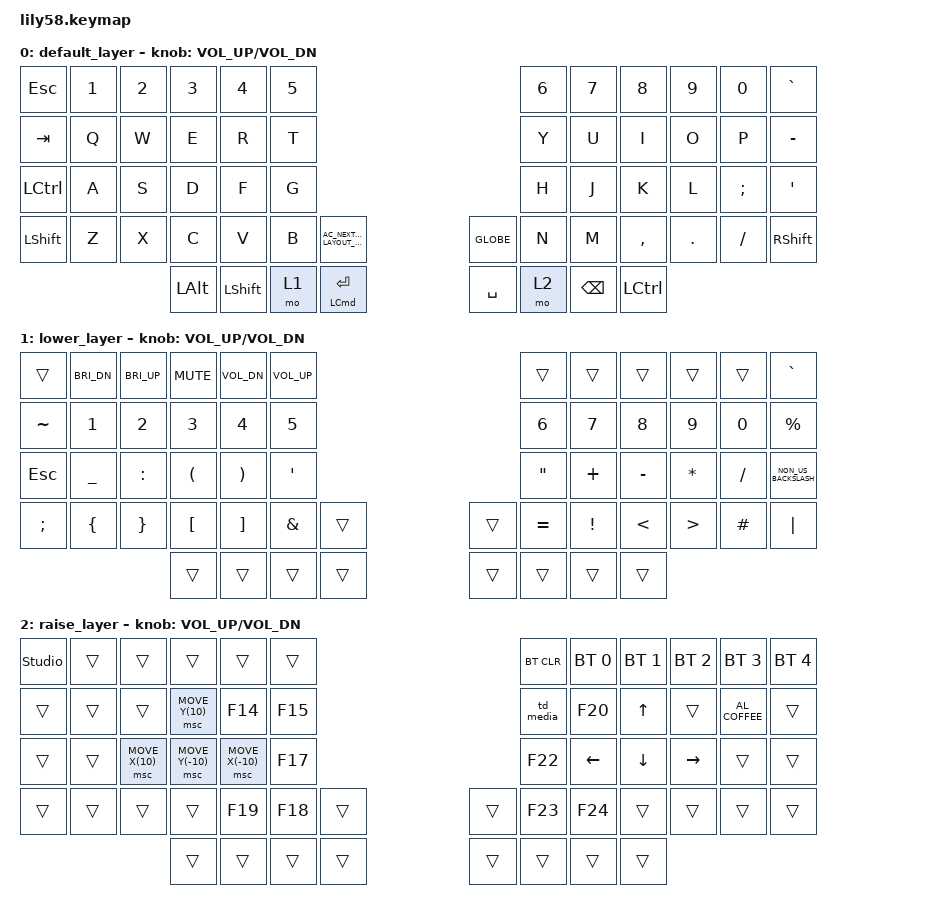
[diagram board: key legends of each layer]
/*
 * Copyright (c) 2020 The ZMK Contributors
 *
 * SPDX-License-Identifier: MIT
 */

#include <behaviors.dtsi>
#include <dt-bindings/zmk/bt.h>
#include <dt-bindings/zmk/keys.h>
#include <dt-bindings/zmk/pointing.h>

/ {
    behaviors {
        td_media: tap_dance_media {
            compatible = "zmk,behavior-tap-dance";
            #binding-cells = <0>;
            tapping-term-ms = <220>;  /* подстрой под себя */
            bindings = <&kp C_PLAY_PAUSE>, <&kp C_NEXT>, <&kp C_PREVIOUS>;
        };
    };

    keymap {
        compatible = "zmk,keymap";

        default_layer {
            bindings = <
        &td_media
            >;
        };
    };
};

/ {
    keymap {
        compatible = "zmk,keymap";

        default_layer {
            // ------------------------------------------------------------------------------------------------------------
            // |  ESC  |  1  |  2  |  3   |  4   |  5   |                   |  6   |  7    |  8    |  9   |   0   |   `   |
            // |  TAB  |  Q  |  W  |  E   |  R   |  T   |                   |  Y   |  U    |  I    |  O   |   P   |   -   |
            // |  CTRL |  A  |  S  |  D   |  F   |  G   |                   |  H   |  J    |  K    |  L   |   ;   |   '   |
            // | SHIFT |  Z  |  X  |  C   |  V   |  B   |   "["  |  |  "]"  |  N   |  M    |  ,    |  .   |   /   | SHIFT |
            //                     | ALT  | GUI  | LOWER|  SPACE |  | ENTER | RAISE| BSPC  | GUI   |

            bindings = <
&kp ESC    &kp N1  &kp N2  &kp N3    &kp N4          &kp N5                                                     &kp N6  &kp N7    &kp N8            &kp N9   &kp N0    &kp GRAVE
&kp TAB    &kp Q   &kp W   &kp E     &kp R           &kp T                                                      &kp Y   &kp U     &kp I             &kp O    &kp P     &kp MINUS
&kp LCTRL  &kp A   &kp S   &kp D     &kp F           &kp G                                                      &kp H   &kp J     &kp K             &kp L    &kp SEMI  &kp SQT
&kp LSHFT  &kp Z   &kp X   &kp C     &kp V           &kp B   &kp C_AC_NEXT_KEYBOARD_LAYOUT_SELECT    &kp GLOBE  &kp N   &kp M     &kp COMMA         &kp DOT  &kp FSLH  &kp RSHFT
                           &kp LALT  &kp LEFT_SHIFT  &mo 1   &mt LEFT_COMMAND ENTER                  &kp SPACE  &mo 2   &kp BSPC  &kp LEFT_CONTROL
            >;

            sensor-bindings = <&inc_dec_kp C_VOL_UP C_VOL_DN>;
        };

        lower_layer {
            // --------------------------------------------------------------------------------------------------------------
            // | LPAD  | BRDn | BRUp |  MUT |  Vo- |  Vo+ |                   |      |       |       |      |       |       |
            // |  F1   |  F2  |  F3  |  F4  |  F5  |  F6  |                   |  F7  |  F8   |  F9   |  F10 |  F11  |  F12  |
            // |   `   |  !   |  @   |  #   |  $   |  %   |                   |  ^   |  &    |  *    |  (   |   )   |   ~   |
            // |       |      |      |      |      |      |        |  |       |      |  _    |  +    |  {   |   }   |  "|"  |
            //                       |      |      |      |        |  |       |      |       |       |

            bindings = <
&trans         &kp C_BRI_DN    &kp C_BRI_UP     &kp C_MUTE            &kp C_VOL_DN           &kp C_VOL_UP                      &trans             &trans           &trans         &trans            &trans     &kp GRAVE
&kp TILDE      &kp NUMBER_1    &kp NUMBER_2     &kp NUMBER_3          &kp NUMBER_4           &kp N5                            &kp NUMBER_6       &kp N7           &kp N8         &kp N9            &kp N0     &kp PERCENT
&kp ESCAPE     &kp UNDERSCORE  &kp COLON        &kp LEFT_PARENTHESIS  &kp RIGHT_PARENTHESIS  &kp APOSTROPHE                    &kp DOUBLE_QUOTES  &kp PLUS         &kp MINUS      &kp ASTERISK      &kp SLASH  &kp NON_US_BACKSLASH
&kp SEMICOLON  &kp LEFT_BRACE  &kp RIGHT_BRACE  &kp LEFT_BRACKET      &kp RIGHT_BRACKET      &kp AMPERSAND   &trans    &trans  &kp EQUAL          &kp EXCLAMATION  &kp LESS_THAN  &kp GREATER_THAN  &kp HASH   &kp PIPE
                                                &trans                &trans                 &trans          &trans    &trans  &trans             &trans           &trans
            >;

            sensor-bindings = <&inc_dec_kp C_VOL_UP C_VOL_DN>;
        };

        raise_layer {
            // ------------------------------------------------------------------------------------------------------------
            // |       |     |     |      |      |      |                   |      |       |       |      |       |       |
            // |   `   |  1  |  2  |  3   |  4   |  5   |                   |  6   |   7   |   8   |  9   |   0   |       |
            // |   F1  |  F2 |  F3 |  F4  |  F5  |  F6  |                   |      |   <-  |   v   |  ^   |  ->   |       |
            // |   F7  |  F8 |  F9 |  F10 |  F11 |  F12 |        |  |       |  +   |   -   |   =   |  [   |   ]   |   \   |
            //                     |      |      |      |        |  |       |      |       |       |

            bindings = <
&studio_unlock  &trans  &trans           &trans            &trans            &trans                     &bt BT_CLR  &bt BT_SEL 0  &bt BT_SEL 1  &bt BT_SEL 2  &bt BT_SEL 3     &bt BT_SEL 4
&trans          &trans  &trans           &msc MOVE_Y(10)   &kp F14           &kp F15                    &td_media   &kp F20       &kp UP_ARROW  &trans        &kp C_AL_COFFEE  &trans
&trans          &trans  &msc MOVE_X(10)  &msc MOVE_Y(-10)  &msc MOVE_X(-10)  &kp F17                    &kp F22     &kp LEFT      &kp DOWN      &kp RIGHT     &trans           &trans
&trans          &trans  &trans           &trans            &kp F19           &kp F18  &trans    &trans  &kp F23     &kp F24       &trans        &trans        &trans           &trans
                                         &trans            &trans            &trans   &trans    &trans  &trans      &trans        &trans
            >;

            sensor-bindings = <&inc_dec_kp C_VOL_UP C_VOL_DN>;
        };
    };
};
